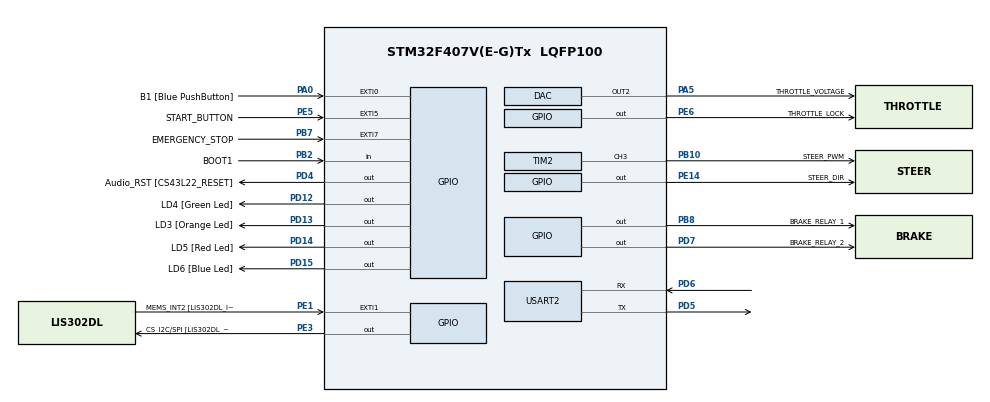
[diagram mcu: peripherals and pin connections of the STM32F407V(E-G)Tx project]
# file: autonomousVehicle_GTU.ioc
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FREERTOS.INCLUDE_eTaskGetState=1
FREERTOS.INCLUDE_pcTaskGetTaskName=1
FREERTOS.INCLUDE_vTaskDelayUntil=1
FREERTOS.INCLUDE_xQueueGetMutexHolder=1
FREERTOS.INCLUDE_xSemaphoreGetMutexHolder=1
FREERTOS.INCLUDE_xTaskGetCurrentTaskHandle=1
FREERTOS.INCLUDE_xTaskGetHandle=1
FREERTOS.Tasks01=defaultTask,0,512,StartDefaultTask,Default,NULL,Static,defaultTaskBuffer,defaultTaskControlBlock
FREERTOS.configTOTAL_HEAP_SIZE=20480
FREERTOS.configUSE_COUNTING_SEMAPHORES=1
FREERTOS.configUSE_RECURSIVE_MUTEXES=0
Mcu.Family=STM32F4
Mcu.Name=STM32F407V(E-G)Tx
Mcu.Package=LQFP100
NVIC.EXTI9_5_IRQn=true\:5\:0\:false\:false\:true\:true\:true\:true
NVIC.PriorityGroup=NVIC_PRIORITYGROUP_4
NVIC.TIM3_IRQn=true\:5\:0\:false\:false\:true\:true\:true\:true
NVIC.TIM4_IRQn=true\:5\:0\:false\:false\:true\:true\:true\:true
NVIC.TIM7_IRQn=true\:5\:0\:false\:false\:true\:true\:true\:true
NVIC.USART2_IRQn=true\:5\:0\:false\:false\:true\:true\:true\:true
PA0-WKUP.GPIO_Label=B1 [Blue PushButton]
PA0-WKUP.GPIO_ModeDefaultEXTI=GPIO_MODE_EVT_RISING
PA0-WKUP.GPIO_PuPd=GPIO_PULLDOWN
PA0-WKUP.Signal=GPXTI0
PA13.GPIO_Label=SWDIO
PA13.Mode=Serial_Wire
PA13.Signal=SYS_JTMS-SWDIO
PA14.GPIO_Label=SWCLK
PA14.Mode=Serial_Wire
PA14.Signal=SYS_JTCK-SWCLK
PA5.GPIO_Label=THROTTLE_VOLTAGE
PA5.Signal=COMP_DAC2_group
PB10.GPIO_Label=STEER_PWM
PB10.GPIO_PuPd=GPIO_PULLDOWN
PB10.Signal=S_TIM2_CH3
PB2.GPIO_Label=BOOT1
PB2.GPIO_Mode=GPIO_MODE_INPUT
PB2.GPIO_PuPd=GPIO_NOPULL
PB2.Signal=GPIO_Input
PB7.GPIO_Label=EMERGENCY_STOP
PB7.GPIO_ModeDefaultEXTI=GPIO_MODE_IT_RISING_FALLING
PB7.GPIO_PuPd=GPIO_PULLDOWN
PB7.Signal=GPXTI7
PB8.GPIO_Label=BRAKE_RELAY_1
PB8.GPIO_PuPd=GPIO_PULLDOWN
PB8.GPIO_Speed=GPIO_SPEED_FREQ_MEDIUM
PB8.PinState=GPIO_PIN_RESET
PB8.Signal=GPIO_Output
PC14-OSC32_IN.GPIO_Label=PC14-OSC32_IN
PC14-OSC32_IN.Mode=LSE-External-Oscillator
PC14-OSC32_IN.Signal=RCC_OSC32_IN
PC15-OSC32_OUT.GPIO_Label=PC15-OSC32_OUT
PC15-OSC32_OUT.Mode=LSE-External-Oscillator
PC15-OSC32_OUT.Signal=RCC_OSC32_OUT
PD12.GPIO_Label=LD4 [Green Led]
PD12.GPIO_PuPd=GPIO_NOPULL
PD12.GPIO_Speed=GPIO_SPEED_FREQ_LOW
PD12.Signal=GPIO_Output
PD13.GPIO_Label=LD3 [Orange Led]
PD13.GPIO_PuPd=GPIO_NOPULL
PD13.GPIO_Speed=GPIO_SPEED_FREQ_LOW
PD13.Signal=GPIO_Output
PD14.GPIO_Label=LD5 [Red Led]
PD14.GPIO_PuPd=GPIO_NOPULL
PD14.GPIO_Speed=GPIO_SPEED_FREQ_LOW
PD14.Signal=GPIO_Output
PD15.GPIO_Label=LD6 [Blue Led]
PD15.GPIO_PuPd=GPIO_NOPULL
PD15.GPIO_Speed=GPIO_SPEED_FREQ_LOW
PD15.Signal=GPIO_Output
PD4.GPIO_Label=Audio_RST [CS43L22_RESET]
PD4.GPIO_PuPd=GPIO_NOPULL
PD4.GPIO_Speed=GPIO_SPEED_FREQ_LOW
PD4.Signal=GPIO_Output
PD5.Mode=Asynchronous
PD5.Signal=USART2_TX
PD6.Mode=Asynchronous
PD6.Signal=USART2_RX
PD7.GPIO_Label=BRAKE_RELAY_2
PD7.GPIO_PuPd=GPIO_PULLDOWN
PD7.GPIO_Speed=GPIO_SPEED_FREQ_MEDIUM
PD7.Signal=GPIO_Output
PE1.GPIO_Label=MEMS_INT2 [LIS302DL_INT2]
PE1.GPIO_ModeDefaultEXTI=GPIO_MODE_EVT_RISING
PE1.GPIO_PuPd=GPIO_NOPULL
PE1.Signal=GPXTI1
PE14.GPIO_Label=STEER_DIR
PE14.GPIO_PuPd=GPIO_PULLDOWN
PE14.GPIO_Speed=GPIO_SPEED_FREQ_VERY_HIGH
PE14.Signal=GPIO_Output
PE3.GPIO_Label=CS_I2C/SPI [LIS302DL_CS_I2C/SPI]
PE3.GPIO_PuPd=GPIO_NOPULL
PE3.GPIO_Speed=GPIO_SPEED_FREQ_LOW
PE3.Signal=GPIO_Output
PE5.GPIO_Label=START_BUTTON
PE5.GPIO_ModeDefaultEXTI=GPIO_MODE_IT_RISING_FALLING
PE5.GPIO_PuPd=GPIO_PULLDOWN
PE5.Signal=GPXTI5
PE6.GPIO_Label=THROTTLE_LOCK
PE6.GPIO_PuPd=GPIO_PULLUP
PE6.GPIO_Speed=GPIO_SPEED_FREQ_HIGH
PE6.PinState=GPIO_PIN_SET
PE6.Signal=GPIO_Output
PH0-OSC_IN.GPIO_Label=PH0-OSC_IN
PH0-OSC_IN.Mode=HSE-External-Oscillator
PH0-OSC_IN.Signal=RCC_OSC_IN
PH1-OSC_OUT.GPIO_Label=PH1-OSC_OUT
PH1-OSC_OUT.Mode=HSE-External-Oscillator
PH1-OSC_OUT.Signal=RCC_OSC_OUT
ProjectManager.HeapSize=0x200
ProjectManager.StackSize=0x400
ProjectManager.TargetToolchain=STM32CubeIDE
RCC.48MHZClocksFreq_Value=48000000
RCC.AHBFreq_Value=168000000
RCC.APB1CLKDivider=RCC_HCLK_DIV4
RCC.APB1Freq_Value=42000000
RCC.APB1TimFreq_Value=84000000
RCC.APB2CLKDivider=RCC_HCLK_DIV2
RCC.APB2Freq_Value=84000000
RCC.APB2TimFreq_Value=168000000
RCC.CortexFreq_Value=168000000
RCC.HCLKFreq_Value=168000000
RCC.HSE_VALUE=8000000
RCC.HSI_VALUE=16000000
RCC.PLLI2SN=50
RCC.PLLM=4
RCC.PLLN=168
RCC.PLLQ=7
RCC.PLLSourceVirtual=RCC_PLLSOURCE_HSE
RCC.SYSCLKFreq_VALUE=168000000
RCC.SYSCLKSource=RCC_SYSCLKSOURCE_PLLCLK
RCC.VCOOutputFreq_Value=336000000
SH.COMP_DAC2_group.0=DAC_OUT2,DAC_OUT2
SH.S_TIM2_CH3.0=TIM2_CH3,PWM Generation3 CH3
TIM2.Channel-PWM\ Generation3\ CH3=TIM_CHANNEL_3
TIM2.Period=100
TIM2.Prescaler=207
TIM2.Pulse-PWM\ Generation3\ CH3=60
TIM3.Period=1
TIM3.Prescaler=10500
TIM4.Period=350
TIM4.Prescaler=52500
TIM4.TIM_MasterOutputTrigger=TIM_TRGO_ENABLE
TIM7.Period=400
TIM7.Prescaler=52500
TIM7.TIM_MasterOutputTrigger=TIM_TRGO_ENABLE
USART2.VirtualMode=VM_ASYNC
VP_FREERTOS_VS_CMSIS_V1.Mode=CMSIS_V1
VP_TIM2_VS_ClockSourceINT.Mode=Internal
VP_TIM3_VS_ClockSourceINT.Mode=Internal
VP_TIM4_VS_ClockSourceINT.Mode=Internal
VP_TIM7_VS_ClockSourceINT.Mode=Enable_Timer
board=STM32F4DISCOVERY

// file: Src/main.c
/* USER CODE BEGIN Header */
/**
 ******************************************************************************
 * @file           : main.c
 * @brief          : Main program body
 ******************************************************************************
 * @attention
 *
 * <h2><center>&copy; Copyright (c) 2019 STMicroelectronics.
 * All rights reserved.</center></h2>
 *
 * This software component is licensed by ST under Ultimate Liberty license
 * SLA0044, the "License"; You may not use this file except in compliance with
 * the License. You may obtain a copy of the License at:
 *                             www.st.com/SLA0044
 *
 ******************************************************************************
 */
/* USER CODE END Header */

#include "main.h"
#include "cmsis_os.h"

/* USER CODE BEGIN Includes */
#include "Controllers/BrakeController.h"
#include "Controllers/ThrottleController.h"
#include "Controllers/SteerController.h"
#include "Controllers/MainController.h"
#include "Communications/Communication_Mechanism.h"
#include "Communications/UART_Communication.h"
#include "Communications/UART_Message.h"
#include "autonomousVehicle_conf.h"
#include "stm32f4xx.h"
#include "helpers.h"

/* USER CODE END Includes */

DAC_HandleTypeDef hdac;

TIM_HandleTypeDef htim2;
TIM_HandleTypeDef htim3;
TIM_HandleTypeDef htim4;
TIM_HandleTypeDef htim7;

UART_HandleTypeDef huart2;

osThreadId defaultTaskHandle;
uint32_t defaultTaskBuffer[512];
osStaticThreadDef_t defaultTaskControlBlock;
/* USER CODE BEGIN PV */
volatile uint8_t is_started;
volatile void (*it_callback) ( ) = NULL;
volatile void (*it_callback_2) ( ) = NULL;
/* USER CODE END PV */

void SystemClock_Config (void);
static void MX_GPIO_Init (void);
static void MX_DAC_Init (void);
static void MX_TIM2_Init (void);
static void MX_TIM3_Init (void);
static void MX_USART2_UART_Init (void);
static void MX_TIM4_Init (void);
static void MX_TIM7_Init (void);
void StartDefaultTask (void const * argument);

int main (void)
{
    /* USER CODE BEGIN 1 */
    is_started = 0;     // set according interrupt or uart data
    /* USER CODE END 1 */

    /* MCU Configuration--------------------------------------------------------*/

    /* Reset of all peripherals, Initializes the Flash interface and the Systick. */
    HAL_Init( );

    /* Configure the system clock */
    SystemClock_Config( );

    /* Initialize all configured peripherals */
    MX_GPIO_Init( );
    MX_DAC_Init( );
    MX_TIM2_Init( );
    MX_TIM3_Init( );
    MX_USART2_UART_Init( );
    MX_TIM4_Init( );
    MX_TIM7_Init( );
    /* USER CODE BEGIN 2 */
    HAL_DAC_Start(&hdac, DAC_CHANNEL_2);//for throttle
    HAL_TIM_PWM_Start(&htim2, TIM_CHANNEL_3);//
    HAL_TIM_Base_Start_IT(&htim3);
    HAL_TIM_Base_Start_IT(&htim4);
    HAL_TIM_Base_Start_IT(&htim7);

    /* USER CODE END 2 */

    /* Create the thread(s) */
    /* definition and creation of defaultTask */

    /* USER CODE BEGIN RTOS_THREADS */
    /* add threads, ... */
  /*  osThreadStaticDef(defaultTask, StartDefaultTask, osPriorityNormal, 0, 512, defaultTaskBuffer,
            &defaultTaskControlBlock);
    defaultTaskHandle = osThreadCreate(osThread(defaultTask), NULL);
*/
    brake_init( );
    throttle_set_value(SPEED_0);
    throttle_set_lock(THROTTLE_LOCK);
    uart_init( );
    steer_init( );
    communication_init( );
    main_controller_init();
    /* USER CODE END RTOS_THREADS */

    /* Start scheduler */
    osKernelStart( );

    /* We should never get here as control is now taken by the scheduler */

    /* Infinite loop */
    while (1)
    {

    }
}

void SystemClock_Config (void)
{
    RCC_OscInitTypeDef RCC_OscInitStruct = { 0 };
    RCC_ClkInitTypeDef RCC_ClkInitStruct = { 0 };

    /** Configure the main internal regulator output voltage
     */
    __HAL_RCC_PWR_CLK_ENABLE()
    ;
    __HAL_PWR_VOLTAGESCALING_CONFIG(PWR_REGULATOR_VOLTAGE_SCALE1);
    /** Initializes the CPU, AHB and APB busses clocks
     */
    RCC_OscInitStruct.OscillatorType = RCC_OSCILLATORTYPE_HSE;
    RCC_OscInitStruct.HSEState = RCC_HSE_ON;
    RCC_OscInitStruct.PLL.PLLState = RCC_PLL_ON;
    RCC_OscInitStruct.PLL.PLLSource = RCC_PLLSOURCE_HSE;
    RCC_OscInitStruct.PLL.PLLM = 4;
    RCC_OscInitStruct.PLL.PLLN = 168;
    RCC_OscInitStruct.PLL.PLLP = RCC_PLLP_DIV2;
    RCC_OscInitStruct.PLL.PLLQ = 7;
    if (HAL_RCC_OscConfig(&RCC_OscInitStruct) != HAL_OK)
    {
        Error_Handler( );
    }
    /** Initializes the CPU, AHB and APB busses clocks
     */
    RCC_ClkInitStruct.ClockType = RCC_CLOCKTYPE_HCLK | RCC_CLOCKTYPE_SYSCLK | RCC_CLOCKTYPE_PCLK1
            | RCC_CLOCKTYPE_PCLK2;
    RCC_ClkInitStruct.SYSCLKSource = RCC_SYSCLKSOURCE_PLLCLK;
    RCC_ClkInitStruct.AHBCLKDivider = RCC_SYSCLK_DIV1;
    RCC_ClkInitStruct.APB1CLKDivider = RCC_HCLK_DIV4;
    RCC_ClkInitStruct.APB2CLKDivider = RCC_HCLK_DIV2;

    if (HAL_RCC_ClockConfig(&RCC_ClkInitStruct, FLASH_LATENCY_5) != HAL_OK)
    {
        Error_Handler( );
    }
}

static void MX_DAC_Init (void)
{

    DAC_ChannelConfTypeDef sConfig = { 0 };

    /** DAC Initialization
     */
    hdac.Instance = DAC;
    if (HAL_DAC_Init(&hdac) != HAL_OK)
    {
        Error_Handler( );
    }
    /** DAC channel OUT2 config
     */
    sConfig.DAC_Trigger = DAC_TRIGGER_NONE;
    sConfig.DAC_OutputBuffer = DAC_OUTPUTBUFFER_ENABLE;
    if (HAL_DAC_ConfigChannel(&hdac, &sConfig, DAC_CHANNEL_2) != HAL_OK)
    {
        Error_Handler( );
    }

}

static void MX_TIM2_Init (void)
{

    TIM_ClockConfigTypeDef sClockSourceConfig = { 0 };
    TIM_MasterConfigTypeDef sMasterConfig = { 0 };
    TIM_OC_InitTypeDef sConfigOC = { 0 };

    /* USER CODE BEGIN TIM2_Init 1 */
    //Prescaler 207 4KHz
    //Prescaler 332 2.5kHz
    /* USER CODE END TIM2_Init 1 */
    htim2.Instance = TIM2;
    htim2.Init.Prescaler = 207;
    htim2.Init.CounterMode = TIM_COUNTERMODE_UP;
    htim2.Init.Period = 100;
    htim2.Init.ClockDivision = TIM_CLOCKDIVISION_DIV1;
    htim2.Init.AutoReloadPreload = TIM_AUTORELOAD_PRELOAD_DISABLE;
    if (HAL_TIM_Base_Init(&htim2) != HAL_OK)
    {
        Error_Handler( );
    }
    sClockSourceConfig.ClockSource = TIM_CLOCKSOURCE_INTERNAL;
    if (HAL_TIM_ConfigClockSource(&htim2, &sClockSourceConfig) != HAL_OK)
    {
        Error_Handler( );
    }
    if (HAL_TIM_PWM_Init(&htim2) != HAL_OK)
    {
        Error_Handler( );
    }
    sMasterConfig.MasterOutputTrigger = TIM_TRGO_RESET;
    sMasterConfig.MasterSlaveMode = TIM_MASTERSLAVEMODE_DISABLE;
    if (HAL_TIMEx_MasterConfigSynchronization(&htim2, &sMasterConfig) != HAL_OK)
    {
        Error_Handler( );
    }
    sConfigOC.OCMode = TIM_OCMODE_PWM1;
    sConfigOC.Pulse = 60;
    sConfigOC.OCPolarity = TIM_OCPOLARITY_HIGH;
    sConfigOC.OCFastMode = TIM_OCFAST_DISABLE;
    if (HAL_TIM_PWM_ConfigChannel(&htim2, &sConfigOC, TIM_CHANNEL_3) != HAL_OK)
    {
        Error_Handler( );
    }
    HAL_TIM_MspPostInit(&htim2);

}

static void MX_TIM3_Init (void)
{

    TIM_ClockConfigTypeDef sClockSourceConfig = { 0 };
    TIM_MasterConfigTypeDef sMasterConfig = { 0 };

    /* USER CODE BEGIN TIM3_Init 1 */
    //Prescaler 2*X -1 tane pwm adımına denk gelir
    //10500 2KHz
    //16800 1.25 KHz
    /* USER CODE END TIM3_Init 1 */
    htim3.Instance = TIM3;
    htim3.Init.Prescaler = 10500;
    htim3.Init.CounterMode = TIM_COUNTERMODE_UP;
    htim3.Init.Period = 1;
    htim3.Init.ClockDivision = TIM_CLOCKDIVISION_DIV1;
    htim3.Init.AutoReloadPreload = TIM_AUTORELOAD_PRELOAD_DISABLE;
    if (HAL_TIM_Base_Init(&htim3) != HAL_OK)
    {
        Error_Handler( );
    }
    sClockSourceConfig.ClockSource = TIM_CLOCKSOURCE_INTERNAL;
    if (HAL_TIM_ConfigClockSource(&htim3, &sClockSourceConfig) != HAL_OK)
    {
        Error_Handler( );
    }
    sMasterConfig.MasterOutputTrigger = TIM_TRGO_RESET;
    sMasterConfig.MasterSlaveMode = TIM_MASTERSLAVEMODE_DISABLE;
    if (HAL_TIMEx_MasterConfigSynchronization(&htim3, &sMasterConfig) != HAL_OK)
    {
        Error_Handler( );
    }

}

static void MX_TIM4_Init (void)
{

    TIM_ClockConfigTypeDef sClockSourceConfig = { 0 };
    TIM_MasterConfigTypeDef sMasterConfig = { 0 };

    htim4.Instance = TIM4;
    htim4.Init.Prescaler = 52500;
    htim4.Init.CounterMode = TIM_COUNTERMODE_UP;
    htim4.Init.Period = 350;
    htim4.Init.ClockDivision = TIM_CLOCKDIVISION_DIV1;
    htim4.Init.AutoReloadPreload = TIM_AUTORELOAD_PRELOAD_DISABLE;
    if (HAL_TIM_Base_Init(&htim4) != HAL_OK)
    {
        Error_Handler( );
    }
    sClockSourceConfig.ClockSource = TIM_CLOCKSOURCE_INTERNAL;
    if (HAL_TIM_ConfigClockSource(&htim4, &sClockSourceConfig) != HAL_OK)
    {
        Error_Handler( );
    }
    sMasterConfig.MasterOutputTrigger = TIM_TRGO_ENABLE;
    sMasterConfig.MasterSlaveMode = TIM_MASTERSLAVEMODE_DISABLE;
    if (HAL_TIMEx_MasterConfigSynchronization(&htim4, &sMasterConfig) != HAL_OK)
    {
        Error_Handler( );
    }

}

static void MX_TIM7_Init (void)
{

    TIM_MasterConfigTypeDef sMasterConfig = { 0 };

    htim7.Instance = TIM7;
    htim7.Init.Prescaler = 52500;
    htim7.Init.CounterMode = TIM_COUNTERMODE_UP;
    htim7.Init.Period = 400;
    htim7.Init.AutoReloadPreload = TIM_AUTORELOAD_PRELOAD_DISABLE;
    if (HAL_TIM_Base_Init(&htim7) != HAL_OK)
    {
        Error_Handler( );
    }
    sMasterConfig.MasterOutputTrigger = TIM_TRGO_ENABLE;
    sMasterConfig.MasterSlaveMode = TIM_MASTERSLAVEMODE_DISABLE;
    if (HAL_TIMEx_MasterConfigSynchronization(&htim7, &sMasterConfig) != HAL_OK)
    {
        Error_Handler( );
    }

}

static void MX_USART2_UART_Init (void)
{

    huart2.Instance = USART2;
    huart2.Init.BaudRate = 115200;
    huart2.Init.WordLength = UART_WORDLENGTH_8B;
    huart2.Init.StopBits = UART_STOPBITS_1;
    huart2.Init.Parity = UART_PARITY_NONE;
    huart2.Init.Mode = UART_MODE_TX_RX;
    huart2.Init.HwFlowCtl = UART_HWCONTROL_NONE;
    huart2.Init.OverSampling = UART_OVERSAMPLING_16;
    if (HAL_UART_Init(&huart2) != HAL_OK)
    {
        Error_Handler( );
    }

}

static void MX_GPIO_Init (void)
{
    GPIO_InitTypeDef GPIO_InitStruct = { 0 };

    /* GPIO Ports Clock Enable */
    __HAL_RCC_GPIOE_CLK_ENABLE()
    ;
    __HAL_RCC_GPIOC_CLK_ENABLE()
    ;
    __HAL_RCC_GPIOH_CLK_ENABLE()
    ;
    __HAL_RCC_GPIOA_CLK_ENABLE()
    ;
    __HAL_RCC_GPIOB_CLK_ENABLE()
    ;
    __HAL_RCC_GPIOD_CLK_ENABLE()
    ;

    /*Configure GPIO pin Output Level */
    HAL_GPIO_WritePin(GPIOE, CS_I2C_SPI_Pin | STEER_DIR_Pin, GPIO_PIN_RESET);

    /*Configure GPIO pin Output Level */
    HAL_GPIO_WritePin(THROTTLE_LOCK_GPIO_Port, THROTTLE_LOCK_Pin, GPIO_PIN_SET);

    /*Configure GPIO pin Output Level */
    HAL_GPIO_WritePin(GPIOD,
            LD4_Pin | LD3_Pin | LD5_Pin | LD6_Pin | Audio_RST_Pin | BRAKE_RELAY_2_Pin,
            GPIO_PIN_RESET);

    /*Configure GPIO pin Output Level */
    HAL_GPIO_WritePin(BRAKE_RELAY_1_GPIO_Port, BRAKE_RELAY_1_Pin, GPIO_PIN_RESET);

    /*Configure GPIO pin : CS_I2C_SPI_Pin */
    GPIO_InitStruct.Pin = CS_I2C_SPI_Pin;
    GPIO_InitStruct.Mode = GPIO_MODE_OUTPUT_PP;
    GPIO_InitStruct.Pull = GPIO_NOPULL;
    GPIO_InitStruct.Speed = GPIO_SPEED_FREQ_LOW;
    HAL_GPIO_Init(CS_I2C_SPI_GPIO_Port, &GPIO_InitStruct);

    /*Configure GPIO pin : START_BUTTON_Pin */
    GPIO_InitStruct.Pin = START_BUTTON_Pin;
    GPIO_InitStruct.Mode = GPIO_MODE_IT_RISING_FALLING;
    GPIO_InitStruct.Pull = GPIO_PULLDOWN;
    HAL_GPIO_Init(START_BUTTON_GPIO_Port, &GPIO_InitStruct);

    /*Configure GPIO pin : THROTTLE_LOCK_Pin */
    GPIO_InitStruct.Pin = THROTTLE_LOCK_Pin;
    GPIO_InitStruct.Mode = GPIO_MODE_OUTPUT_PP;
    GPIO_InitStruct.Pull = GPIO_PULLUP;
    GPIO_InitStruct.Speed = GPIO_SPEED_FREQ_HIGH;
    HAL_GPIO_Init(THROTTLE_LOCK_GPIO_Port, &GPIO_InitStruct);

    /*Configure GPIO pin : B1_Pin */
    GPIO_InitStruct.Pin = B1_Pin;
    GPIO_InitStruct.Mode = GPIO_MODE_EVT_RISING;
    GPIO_InitStruct.Pull = GPIO_PULLDOWN;
    HAL_GPIO_Init(B1_GPIO_Port, &GPIO_InitStruct);

    /*Configure GPIO pin : BOOT1_Pin */
    GPIO_InitStruct.Pin = BOOT1_Pin;
    GPIO_InitStruct.Mode = GPIO_MODE_INPUT;
    GPIO_InitStruct.Pull = GPIO_NOPULL;
    HAL_GPIO_Init(BOOT1_GPIO_Port, &GPIO_InitStruct);

    /*Configure GPIO pin : STEER_DIR_Pin */
    GPIO_InitStruct.Pin = STEER_DIR_Pin;
    GPIO_InitStruct.Mode = GPIO_MODE_OUTPUT_PP;
    GPIO_InitStruct.Pull = GPIO_PULLDOWN;
    GPIO_InitStruct.Speed = GPIO_SPEED_FREQ_VERY_HIGH;
    HAL_GPIO_Init(STEER_DIR_GPIO_Port, &GPIO_InitStruct);

    /*Configure GPIO pins : LD4_Pin LD3_Pin LD5_Pin LD6_Pin
     Audio_RST_Pin */
    GPIO_InitStruct.Pin = LD4_Pin | LD3_Pin | LD5_Pin | LD6_Pin | Audio_RST_Pin;
    GPIO_InitStruct.Mode = GPIO_MODE_OUTPUT_PP;
    GPIO_InitStruct.Pull = GPIO_NOPULL;
    GPIO_InitStruct.Speed = GPIO_SPEED_FREQ_LOW;
    HAL_GPIO_Init(GPIOD, &GPIO_InitStruct);

    /*Configure GPIO pin : BRAKE_RELAY_2_Pin */
    GPIO_InitStruct.Pin = BRAKE_RELAY_2_Pin;
    GPIO_InitStruct.Mode = GPIO_MODE_OUTPUT_PP;
    GPIO_InitStruct.Pull = GPIO_PULLDOWN;
    GPIO_InitStruct.Speed = GPIO_SPEED_FREQ_MEDIUM;
    HAL_GPIO_Init(BRAKE_RELAY_2_GPIO_Port, &GPIO_InitStruct);

    /*Configure GPIO pin : EMERGENCY_STOP_Pin */
    GPIO_InitStruct.Pin = EMERGENCY_STOP_Pin;
    GPIO_InitStruct.Mode = GPIO_MODE_IT_RISING_FALLING;
    GPIO_InitStruct.Pull = GPIO_PULLDOWN;
    HAL_GPIO_Init(EMERGENCY_STOP_GPIO_Port, &GPIO_InitStruct);

    /*Configure GPIO pin : BRAKE_RELAY_1_Pin */
    GPIO_InitStruct.Pin = BRAKE_RELAY_1_Pin;
    GPIO_InitStruct.Mode = GPIO_MODE_OUTPUT_PP;
    GPIO_InitStruct.Pull = GPIO_PULLDOWN;
    GPIO_InitStruct.Speed = GPIO_SPEED_FREQ_MEDIUM;
    HAL_GPIO_Init(BRAKE_RELAY_1_GPIO_Port, &GPIO_InitStruct);

    /*Configure GPIO pin : MEMS_INT2_Pin */
    GPIO_InitStruct.Pin = MEMS_INT2_Pin;
    GPIO_InitStruct.Mode = GPIO_MODE_EVT_RISING;
    GPIO_InitStruct.Pull = GPIO_NOPULL;
    HAL_GPIO_Init(MEMS_INT2_GPIO_Port, &GPIO_InitStruct);

    /* EXTI interrupt init*/
    HAL_NVIC_SetPriority(EXTI9_5_IRQn, 5, 0);
    HAL_NVIC_EnableIRQ(EXTI9_5_IRQn);

}

/* USER CODE BEGIN 4 */
void HAL_TIM_PeriodElapsedCallback (TIM_HandleTypeDef *htim)
{
    taskDISABLE_INTERRUPTS();
    if (htim->Instance == TIM3)
    {
        HAL_TIM_PWM_Stop(&htim2, TIM_CHANNEL_3);
        HAL_TIM_Base_Stop(&htim2);
        HAL_TIM_Base_Stop(&htim3);
        HAL_GPIO_WritePin(STEER_PWM_GPIO_Port, STEER_PWM_Pin, GPIO_PIN_RESET);

    }
    else if (htim->Instance == TIM7)
    {

        HAL_TIM_Base_Stop(&htim7);
        if (it_callback_2 != NULL)
        {
            (*it_callback_2)( );

        }
    }
    else if (htim->Instance == TIM4)
    {

        HAL_TIM_Base_Stop(&htim4);
        if (it_callback != NULL)
        {
            (*it_callback)( );

        }
    }

    taskENABLE_INTERRUPTS();
}

/* USER CODE END 4 */

void StartDefaultTask (void const * argument)
{
    /* USER CODE BEGIN 5 */
    /* Infinite loop */
#if DEBUG_LOG == 0

#endif

    for (;;)
    {
#if DEBUG_LOG == 0
        //set_green_led();
        //set_red_led();
        //set_orange_led();
        //set_blue_led();
        osDelay(3000);
        //brake_test( );
        throttle_test( );
        //steer_test( );
        //hcsr04( );
#endif
#if DEBUG_LOG
        _write(0, "Debug", 5);
        uart_message_req b;
        if (communication_get_msg(&b) == OK)
        {
            uart_message_rep a;
            uint16_t val;
            uint8_t val2;
            parse_steer_msg(&b, &val2, &val);
            sprintf(a.generic_msg.msg, "%d %d", val, val2);
            communication_send_msg(&a);
        }
        osDelay(1);
#endif
    }
    /* USER CODE END 5 */
}

void Error_Handler (void)
{
}

/************************ (C) COPYRIGHT STMicroelectronics *****END OF FILE****/
